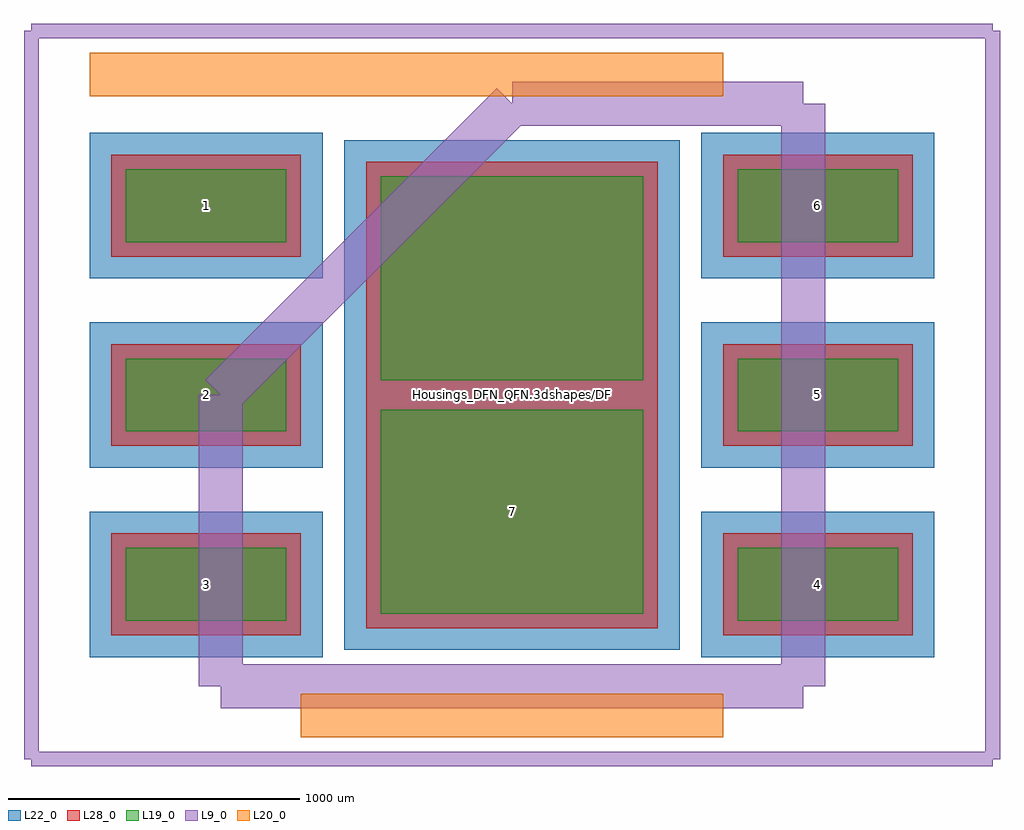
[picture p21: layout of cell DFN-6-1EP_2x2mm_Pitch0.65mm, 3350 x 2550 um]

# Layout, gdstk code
import gdstk
lib = gdstk.Library(unit=1e-6, precision=1e-09)
def R(c, l, rs):  # rectangles x0, y0, x1, y1
    for r in rs: c.add(gdstk.rectangle(r[:2], r[2:], *l))
def A(c, l, x, y, w, h, nx, ny, dx, dy):  # array of equal rectangles
    R(c, l, [(x+i*dx, y+j*dy, x+i*dx+w, y+j*dy+h) for i in range(nx) for j in range(ny)])
L9_0 = (9, 0)
L19_0 = (19, 0)
L20_0 = (20, 0)
L22_0 = (22, 0)
L28_0 = (28, 0)

dfn_6_1ep_2x2mm_pitch0_6 = lib.new_cell('DFN-6-1EP_2x2mm_Pitch0.65mm')
A(dfn_6_1ep_2x2mm_pitch0_6, L19_0, -1325, -775, 550, 250, 1, 3, 0, 650)
A(dfn_6_1ep_2x2mm_pitch0_6, L19_0, 775, -775, 550, 250, 1, 3, 0, 650)
R(dfn_6_1ep_2x2mm_pitch0_6, L19_0, [(-450,-750,450,-50), (-450,50,450,750)])
A(dfn_6_1ep_2x2mm_pitch0_6, L22_0, -1450, -900, 800, 500, 1, 3, 0, 650)
A(dfn_6_1ep_2x2mm_pitch0_6, L22_0, 650, -900, 800, 500, 1, 3, 0, 650)
R(dfn_6_1ep_2x2mm_pitch0_6, L22_0, [(-575,-875,575,75), (-575,-75,575,875)])
A(dfn_6_1ep_2x2mm_pitch0_6, L28_0, -1375, -825, 650, 350, 1, 3, 0, 650)
A(dfn_6_1ep_2x2mm_pitch0_6, L28_0, 725, -825, 650, 350, 1, 3, 0, 650)
R(dfn_6_1ep_2x2mm_pitch0_6, L28_0, [(-500,-800,500,0), (-500,0,500,800)])
dfn_6_1ep_2x2mm_pitch0_6.add(gdstk.FlexPath([(-1450,1100),(725,1100)], 149.998, ends="flush", simple_path=True, layer=20, datatype=0))  # L20_0
dfn_6_1ep_2x2mm_pitch0_6.add(gdstk.FlexPath([(-725,-1100),(725,-1100)], 149.998, ends="flush", simple_path=True, layer=20, datatype=0))  # L20_0
dfn_6_1ep_2x2mm_pitch0_6.add(gdstk.FlexPath([(-1650,-1250),(1650,-1250)], 50, ends="flush", simple_path=True, layer=9, datatype=0))  # L9_0
dfn_6_1ep_2x2mm_pitch0_6.add(gdstk.FlexPath([(-1650,1250),(1650,1250)], 50, ends="flush", simple_path=True, layer=9, datatype=0))  # L9_0
dfn_6_1ep_2x2mm_pitch0_6.add(gdstk.FlexPath([(1650,1250),(1650,-1250)], 50, ends="flush", simple_path=True, layer=9, datatype=0))  # L9_0
dfn_6_1ep_2x2mm_pitch0_6.add(gdstk.FlexPath([(-1650,1250),(-1650,-1250)], 50, ends="flush", simple_path=True, layer=9, datatype=0))  # L9_0
dfn_6_1ep_2x2mm_pitch0_6.add(gdstk.FlexPath([(-1000,0),(0,1000)], 149.998, ends="flush", simple_path=True, layer=9, datatype=0))  # L9_0
dfn_6_1ep_2x2mm_pitch0_6.add(gdstk.FlexPath([(-1000,-1000),(-1000,0)], 149.998, ends="flush", simple_path=True, layer=9, datatype=0))  # L9_0
dfn_6_1ep_2x2mm_pitch0_6.add(gdstk.FlexPath([(1000,-1000),(-1000,-1000)], 149.998, ends="flush", simple_path=True, layer=9, datatype=0))  # L9_0
dfn_6_1ep_2x2mm_pitch0_6.add(gdstk.FlexPath([(1000,1000),(1000,-1000)], 149.998, ends="flush", simple_path=True, layer=9, datatype=0))  # L9_0
dfn_6_1ep_2x2mm_pitch0_6.add(gdstk.FlexPath([(0,1000),(1000,1000)], 149.998, ends="flush", simple_path=True, layer=9, datatype=0))  # L9_0
dfn_6_1ep_2x2mm_pitch0_6.add(gdstk.Label('Housings_DFN_QFN.3dshapes/DFN-6-1EP_2x2mm_Pitch0.65mm.wrl', (0,0), layer=12, texttype=0))
dfn_6_1ep_2x2mm_pitch0_6.add(gdstk.Label('7', (0,-400), layer=28, texttype=0))
dfn_6_1ep_2x2mm_pitch0_6.add(gdstk.Label('6', (1050,650), layer=28, texttype=0))
dfn_6_1ep_2x2mm_pitch0_6.add(gdstk.Label('5', (1050,0), layer=28, texttype=0))
dfn_6_1ep_2x2mm_pitch0_6.add(gdstk.Label('4', (1050,-650), layer=28, texttype=0))
dfn_6_1ep_2x2mm_pitch0_6.add(gdstk.Label('3', (-1050,-650), layer=28, texttype=0))
dfn_6_1ep_2x2mm_pitch0_6.add(gdstk.Label('2', (-1050,0), layer=28, texttype=0))
dfn_6_1ep_2x2mm_pitch0_6.add(gdstk.Label('1', (-1050,650), layer=28, texttype=0))
dfn_6_1ep_2x2mm_pitch0_6.add(gdstk.Label('type', (0,-2025), layer=9, texttype=0))
dfn_6_1ep_2x2mm_pitch0_6.add(gdstk.Label('devicename', (0,2025), layer=9, texttype=0))

lib.write_gds('DFN-6-1EP_2x2mm_Pitch0.65mm.gds')
